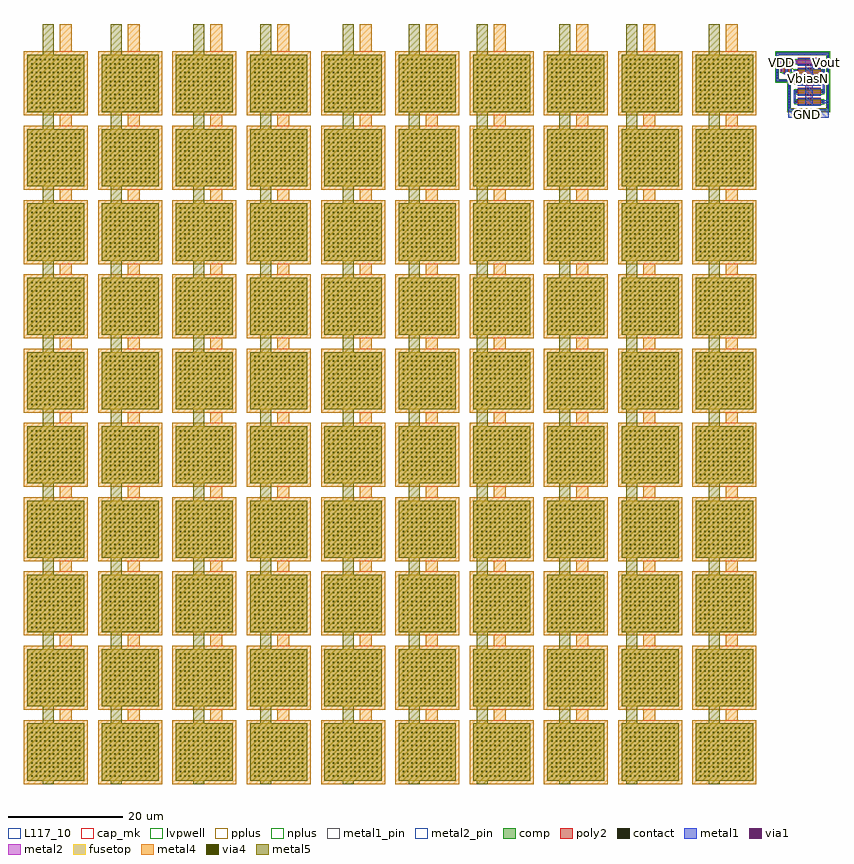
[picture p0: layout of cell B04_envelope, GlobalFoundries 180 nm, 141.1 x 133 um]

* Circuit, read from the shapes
.subckt B04_envelope GND VDD VbiasN Vin Vout
XM1 Vout Vin VDD GND nfet_03v3 w=2u l=1u
XM2 GND VbiasN n1 GND nfet_03v3 w=0.5u l=4u
XM3 n2 VbiasN n1 GND nfet_03v3 w=0.5u l=4u
XM4 n2 VbiasN n3 GND nfet_03v3 w=0.5u l=4u
XM5 n4 VbiasN n3 GND nfet_03v3 w=0.5u l=4u
XM6 n4 VbiasN Vout GND nfet_03v3 w=0.5u l=4u
XC7 n5 n6 cap_mim_2f0fF c_width=10u c_length=10u m=10
XC8 n7 n8 cap_mim_2f0fF c_width=10u c_length=10u m=10
XC9 n9 n10 cap_mim_2f0fF c_width=10u c_length=10u m=10
XC10 n11 n12 cap_mim_2f0fF c_width=10u c_length=10u m=10
XC11 n13 n14 cap_mim_2f0fF c_width=10u c_length=10u m=10
XC12 n15 n16 cap_mim_2f0fF c_width=10u c_length=10u m=10
XC13 n17 n18 cap_mim_2f0fF c_width=10u c_length=10u m=10
XC14 n19 n20 cap_mim_2f0fF c_width=10u c_length=10u m=10
XC15 n21 n22 cap_mim_2f0fF c_width=10u c_length=10u m=10
XC16 n23 n24 cap_mim_2f0fF c_width=10u c_length=10u m=10
.ends

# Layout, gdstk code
import gdstk
lib = gdstk.Library(unit=1e-6, precision=1e-09)
def R(c, l, rs):  # rectangles x0, y0, x1, y1
    for r in rs: c.add(gdstk.rectangle(r[:2], r[2:], *l))
def A(c, l, x, y, w, h, nx, ny, dx, dy):  # array of equal rectangles
    R(c, l, [(x+i*dx, y+j*dy, x+i*dx+w, y+j*dy+h) for i in range(nx) for j in range(ny)])
comp = (22, 0)
poly2 = (30, 0)
pplus = (31, 0)
nplus = (32, 0)
contact = (33, 0)
metal1 = (34, 0)
metal1_pin = (34, 10)
via1 = (35, 0)
metal2 = (36, 0)
metal2_pin = (36, 10)
via4 = (41, 0)
metal4 = (46, 0)
fusetop = (75, 0)
metal5 = (81, 0)
cap_mk = (117, 5)
L117_10 = (117, 10)
lvpwell = (204, 0)

cap_mim = lib.new_cell('cap_mim')
A(cap_mim, via4, 0.69, 0.69, 0.26, 0.26, 12, 12, 0.76, 0.76)
R(cap_mim, metal4, [(-0.6,-0.6,10.6,10.6)])
R(cap_mim, fusetop, [(0,0,10,10)])
R(cap_mim, metal5, [(0,0,10,10)])
R(cap_mim, cap_mk, [(-0.6,-0.6,10.6,10.6)])
R(cap_mim, L117_10, [(0,0,10,0.1)])

nfet_03v3_7cufv7 = lib.new_cell('nfet_03v3_7CUFV7')
R(nfet_03v3_7cufv7, comp, [(-2.44,-0.25,2.44,0.25)])
R(nfet_03v3_7cufv7, poly2, [(-2,-0.71,2,0.71)])
R(nfet_03v3_7cufv7, nplus, [(-2.23,-0.48,2.23,-0.41), (-2.6,-0.41,2.6,0.41), (-2.23,0.41,2.23,0.48)])
A(nfet_03v3_7cufv7, contact, -1.755, -0.64, 0.22, 0.22, 8, 2, 0.47, 1.06)
R(nfet_03v3_7cufv7, contact, [(-2.37,-0.11,-2.15,0.11), (2.15,-0.11,2.37,0.11)])
R(nfet_03v3_7cufv7, metal1, [(-1.99,-0.645,1.99,-0.415), (-2.375,-0.24,-2.145,0.24), (2.145,-0.24,2.375,0.24), (-1.99,0.415,1.99,0.645)])
R(nfet_03v3_7cufv7, lvpwell, [(-2.56,-0.83,2.56,0.83)])

nfet_03v3_se6w7u = lib.new_cell('nfet_03v3_SE6W7U')
R(nfet_03v3_se6w7u, comp, [(-0.94,-1,0.94,1)])
R(nfet_03v3_se6w7u, poly2, [(-0.5,-1.46,0.5,1.46)])
R(nfet_03v3_se6w7u, nplus, [(-0.73,-1.23,0.73,-1.16), (-1.1,-1.16,1.1,1.16), (-0.73,1.16,0.73,1.23)])
A(nfet_03v3_se6w7u, contact, -0.87, -0.815, 0.22, 0.22, 1, 4, 0, 0.47)
A(nfet_03v3_se6w7u, contact, 0.65, -0.815, 0.22, 0.22, 1, 4, 0, 0.47)
R(nfet_03v3_se6w7u, contact, [(-0.345,-1.39,-0.125,-1.17), (0.125,-1.39,0.345,-1.17), (-0.345,1.17,-0.125,1.39), (0.125,1.17,0.345,1.39)])
R(nfet_03v3_se6w7u, metal1, [(-0.49,-1.395,0.49,-1.165), (-0.875,-0.99,-0.645,0.99), (0.645,-0.99,0.875,0.99), (-0.49,1.165,0.49,1.395)])
R(nfet_03v3_se6w7u, lvpwell, [(-1.06,-1.58,1.06,1.58)])

b04_envelope = lib.new_cell('B04_envelope')
R(b04_envelope, comp, [(-1.2,-0.85,6.05,-0.35), (-1.2,-0.35,-0.7,4.3), (5.55,-0.35,6.05,9), (-3.3,4.3,-0.7,4.8), (-3.3,4.8,-2.8,9), (-3.3,9,6.05,9.5)])
R(b04_envelope, pplus, [(-1.22,-0.87,6.07,-0.33), (-1.22,-0.33,-0.68,4.28), (5.53,-0.33,6.07,8.98), (-3.32,4.28,-0.68,4.82), (-3.32,4.82,-2.78,8.98), (-3.32,8.98,6.07,9.52)])
R(b04_envelope, nplus, [(-0.34,5.92,-0.04,6.49), (-0.34,7.42,-0.04,8.24)])
A(b04_envelope, contact, -1.06, -0.25, 0.22, 0.22, 1, 10, 0, 0.47)
A(b04_envelope, contact, 5.69, -0.25, 0.22, 0.22, 1, 20, 0, 0.47)
A(b04_envelope, contact, -3.16, 4.91, 0.22, 0.22, 1, 9, 0, 0.47)
R(b04_envelope, metal1, [(-1.1,-1.95,5.95,-0.45), (-1.1,-0.45,-0.8,4.4), (5.65,-0.45,5.95,0.55), (1.8,0.25,3.15,8.4), (-0.15,0.55,0.2,2.85), (4.9,0.55,5.95,1.1), (5.65,1.1,5.95,9.1), (4.9,2.3,5.25,4.6), (-0.15,4.05,0.2,6.35), (-3.2,4.4,-0.8,4.7), (-3.2,4.7,-2.9,9.1), (-1.65,5.8,-1.25,8.4), (4.9,5.8,5.25,8.1), (-2.55,6.1,-2.25,6.2), (-2.55,6.2,-2.15,7.95), (-0.65,7.5,0.25,8.1), (-2.55,7.95,-2.25,8.05), (-3.2,9.1,5.95,9.4)])
R(b04_envelope, metal1_pin, [(1.75,-1.65,2.75,-0.95), (2.15,4.85,2.6,5.1), (-1.6,6.9,-1.4,7.2)])
A(b04_envelope, via1, -2.43, 6.425, 0.26, 0.26, 1, 3, 0, 0.52)
R(b04_envelope, via1, [(-0.305,7.67,-0.045,7.93)])
R(b04_envelope, metal2, [(-2.55,6.1,-2.1,8.05), (-0.65,7.5,6.1,8.1)])
R(b04_envelope, metal2_pin, [(-2.5,7.55,-2.2,7.8), (5.3,7.6,5.65,7.8)])
R(b04_envelope, metal4, [(-128.65,-118.4,-126.55,14.4), (-116.75,-118.4,-114.65,14.4), (-116.75,-118.4,-114.65,14.4), (-116.75,-118.4,-114.65,14.4), (-102.3,-118.4,-100.2,14.4), (-90.6,-118.4,-88.5,14.4), (-76.15,-118.4,-74.05,14.4), (-64.6,-118.4,-62.5,14.4), (-52.7,-118.4,-50.6,14.4), (-38.25,-118.4,-36.15,14.4), (-26.55,-118.4,-24.45,14.4), (-12.1,-118.4,-10,14.4)])
R(b04_envelope, metal5, [(-131.6,-118.55,-129.7,14.45), (-119.7,-118.55,-117.8,14.45), (-105.25,-118.55,-103.35,14.45), (-93.55,-118.55,-91.65,14.45), (-79.1,-118.55,-77.2,14.45), (-67.55,-118.55,-65.65,14.45), (-55.65,-118.55,-53.75,14.45), (-41.2,-118.55,-39.3,14.45), (-29.5,-118.55,-27.6,14.45), (-15.05,-118.55,-13.15,14.45)])
R(b04_envelope, lvpwell, [(-1.35,-1,6.2,4.15), (-3.45,4.15,6.2,9.65)])
r = gdstk.Reference(cap_mim, (-134.3,-117.95)); r.repetition = gdstk.Repetition(10, 10, v1=(13,0), v2=(0,13)); b04_envelope.add(r)
b04_envelope.add(gdstk.Reference(nfet_03v3_7cufv7, (2.56,0.83)))
b04_envelope.add(gdstk.Reference(nfet_03v3_se6w7u, (-1.44,7.08)))
b04_envelope.add(gdstk.Reference(nfet_03v3_7cufv7, (2.56,7.83)))
b04_envelope.add(gdstk.Reference(nfet_03v3_7cufv7, (2.56,4.33)))
b04_envelope.add(gdstk.Reference(nfet_03v3_7cufv7, (2.56,6.08)))
b04_envelope.add(gdstk.Reference(nfet_03v3_7cufv7, (2.56,2.58)))
b04_envelope.add(gdstk.Label('VDD', (-2.35,7.675), layer=36, texttype=10))
b04_envelope.add(gdstk.Label('Vout', (5.475,7.7), layer=36, texttype=10))
b04_envelope.add(gdstk.Label('GND', (2.25,-1.3), layer=34, texttype=10))
b04_envelope.add(gdstk.Label('Vin', (-1.5,7.05), layer=34, texttype=10))
b04_envelope.add(gdstk.Label('VbiasN', (2.375,4.975), layer=34, texttype=10))

lib.write_gds('B04_envelope.gds')
